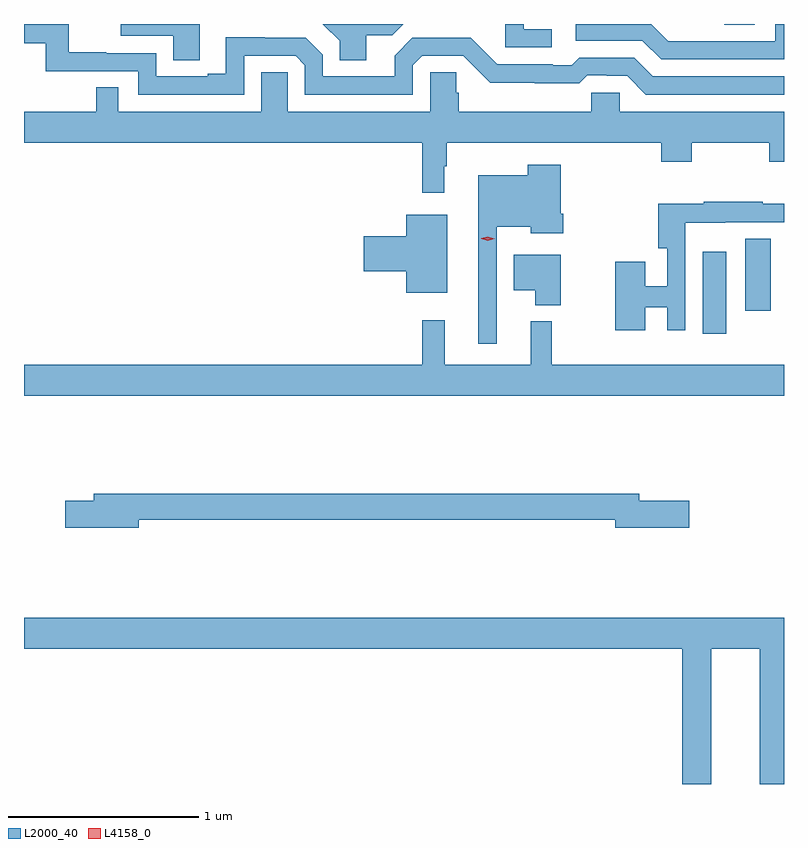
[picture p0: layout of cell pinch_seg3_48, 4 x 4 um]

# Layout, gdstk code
import gdstk
lib = gdstk.Library(unit=1e-6, precision=1e-09)
def R(c, l, rs):  # rectangles x0, y0, x1, y1
    for r in rs: c.add(gdstk.rectangle(r[:2], r[2:], *l))
def P(c, l, *ps):  # polygons
    for p in ps: c.add(gdstk.Polygon(p, *l))
L2000_40 = (2000, 40)
L4158_0 = (4158, 0)

pinch_seg3_48 = lib.new_cell('pinch_seg3_48')
R(pinch_seg3_48, L2000_40, [(1072.898,734.544,1073.02,734.974), (1073.12,734.664,1073.254,735.044), (1073.01,736.168,1073.17,736.173)])
P(pinch_seg3_48, L2000_40, [(1072.102,736.146),(1071.954,736.146),(1071.954,736.173),(1071.858,736.173),(1071.858,736.05),(1072.102,736.05)],
  [(1070.251,736.173),(1069.834,736.173),(1069.834,736.11),(1070.111,736.11),(1070.111,735.982),(1070.251,735.982)],
  [(1071.127,736.114),(1071.262,736.114),(1071.321,736.173),(1070.898,736.173),(1070.987,736.084),(1070.987,735.982),(1071.127,735.982)],
  [(1070.484,736.005),(1070.754,736.005),(1070.802,735.957),(1070.802,735.801),(1071.372,735.801),(1071.372,735.957),(1071.42,736.005),(1071.636,736.005),(1071.778,735.863),(1072.014,735.863),(1072.014,735.861),(1072.247,735.861),(1072.289,735.903),(1072.392,735.903),(1072.392,735.9),(1072.499,735.9),(1072.598,735.801),(1073.325,735.801),(1073.325,735.897),(1072.635,735.897),(1072.536,735.996),(1072.247,735.996),(1072.208,735.957),(1072.109,735.957),(1072.109,735.96),(1071.816,735.96),(1071.675,736.101),(1071.369,736.101),(1071.275,736.007),(1071.275,735.897),(1070.898,735.897),(1070.898,736.011),(1070.808,736.101),(1070.592,736.101),(1070.592,736.103),(1070.387,736.103),(1070.387,735.91),(1070.291,735.91),(1070.291,735.897),(1070.022,735.897),(1070.022,736.02),(1069.757,736.02),(1069.757,736.025),(1069.561,736.025),(1069.561,736.173),(1069.325,736.173),(1069.325,736.071),(1069.44,736.071),(1069.44,735.924),(1069.926,735.924),(1069.926,735.801),(1070.484,735.801)],
  [(1073.325,736.173),(1073.28,736.173),(1073.28,736.083),(1072.716,736.083),(1072.626,736.173),(1072.23,736.173),(1072.23,736.086),(1072.58,736.086),(1072.679,735.987),(1073.325,735.987)],
  [(1071.538,735.425),(1071.55,735.425),(1071.55,735.548),(1072.679,735.548),(1072.679,735.449),(1072.839,735.449),(1072.839,735.548),(1073.248,735.548),(1073.248,735.449),(1073.325,735.449),(1073.325,735.712),(1072.461,735.712),(1072.461,735.81),(1072.311,735.81),(1072.311,735.712),(1071.614,735.712),(1071.614,735.81),(1071.599,735.81),(1071.599,735.92),(1071.462,735.92),(1071.462,735.712),(1070.712,735.712),(1070.712,735.92),(1070.573,735.92),(1070.573,735.712),(1069.821,735.712),(1069.821,735.839),(1069.705,735.839),(1069.705,735.712),(1069.325,735.712),(1069.325,735.548),(1071.421,735.548),(1071.421,735.285),(1071.538,735.285)],
  [(1071.813,735.107),(1071.992,735.107),(1071.992,735.071),(1072.163,735.071),(1072.163,735.175),(1072.15,735.175),(1072.15,735.433),(1071.975,735.433),(1071.975,735.376),(1071.716,735.376),(1071.716,734.49),(1071.813,734.49)],
  [(1072.594,734.682),(1072.71,734.682),(1072.71,734.562),(1072.806,734.562),(1072.806,735.128),(1073.016,735.128),(1073.016,735.129),(1073.325,735.129),(1073.325,735.228),(1073.213,735.228),(1073.213,735.238),(1072.903,735.238),(1072.903,735.228),(1072.664,735.228),(1072.664,734.993),(1072.71,734.993),(1072.71,734.792),(1072.594,734.792),(1072.594,734.923),(1072.436,734.923),(1072.436,734.562),(1072.594,734.562)],
  [(1071.553,735.169),(1071.338,735.169),(1071.338,735.056),(1071.114,735.056),(1071.114,734.873),(1071.338,734.873),(1071.338,734.759),(1071.553,734.759)],
  [(1072.15,734.959),(1071.902,734.959),(1071.902,734.771),(1072.016,734.771),(1072.016,734.693),(1072.15,734.693)],
  [(1073.325,734.38),(1072.102,734.38),(1072.102,734.608),(1071.992,734.608),(1071.992,734.38),(1071.539,734.38),(1071.539,734.614),(1071.421,734.614),(1071.421,734.38),(1069.325,734.38),(1069.325,734.216),(1073.325,734.216)],
  [(1069.93,733.564),(1072.436,733.564),(1072.436,733.522),(1072.825,733.522),(1072.825,733.664),(1072.564,733.664),(1072.564,733.7),(1069.691,733.7),(1069.691,733.664),(1069.542,733.664),(1069.542,733.522),(1069.93,733.522)],
  [(1072.942,732.884),(1073.198,732.884),(1073.198,732.173),(1073.325,732.173),(1073.325,733.048),(1069.325,733.048),(1069.325,732.884),(1072.79,732.884),(1072.79,732.173),(1072.942,732.173)])
P(pinch_seg3_48, L4158_0, [(1071.766,735.033),(1071.731,735.044),(1071.731,735.044),(1071.731,735.045),(1071.767,735.053),(1071.802,735.042),(1071.802,735.042),(1071.802,735.042)])

lib.write_gds('pinch_seg3_48.gds')
